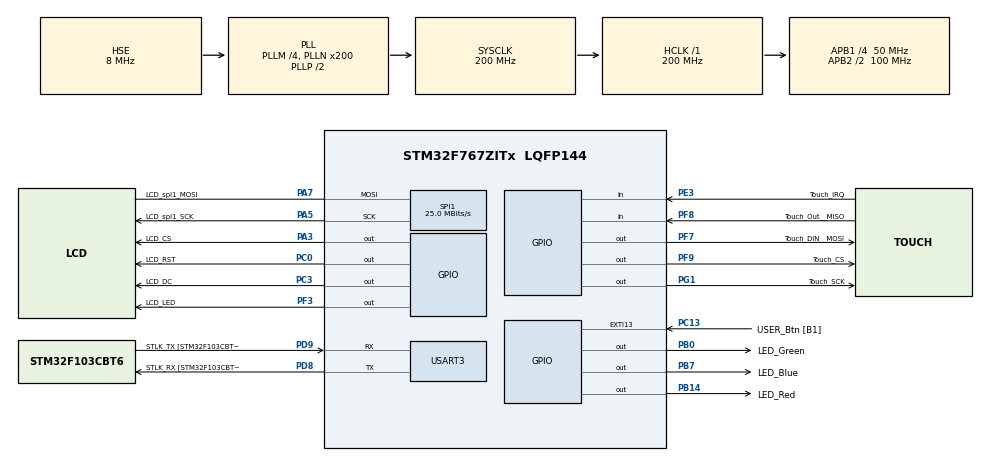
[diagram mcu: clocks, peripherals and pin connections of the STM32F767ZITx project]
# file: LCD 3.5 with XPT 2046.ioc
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Mcu.Family=STM32F7
Mcu.Name=STM32F767ZITx
Mcu.Package=LQFP144
NVIC.PriorityGroup=NVIC_PRIORITYGROUP_4
PA13.GPIO_Label=TMS
PA13.Mode=Serial_Wire
PA13.Signal=SYS_JTMS-SWDIO
PA14.GPIO_Label=TCK
PA14.Mode=Serial_Wire
PA14.Signal=SYS_JTCK-SWCLK
PA3.GPIO_Label=LCD_CS
PA3.Signal=GPIO_Output
PA5.GPIO_Label=LCD_spi1_SCK
PA5.GPIO_Speed=GPIO_SPEED_FREQ_HIGH
PA5.Mode=Simplex_Bidirectional_Master
PA5.Signal=SPI1_SCK
PA7.GPIO_Label=LCD_spi1_MOSI
PA7.GPIO_Speed=GPIO_SPEED_FREQ_HIGH
PA7.Mode=Simplex_Bidirectional_Master
PA7.Signal=SPI1_MOSI
PB0.GPIO_Label=LED_Green
PB0.Signal=GPIO_Output
PB14.GPIO_Label=LED_Red
PB14.Signal=GPIO_Output
PB7.GPIO_Label=LED_Blue
PB7.Signal=GPIO_Output
PC0.GPIO_Label=LCD_RST
PC0.Signal=GPIO_Output
PC13.GPIO_Label=USER_Btn [B1]
PC13.Signal=GPXTI13
PC14/OSC32_IN.Mode=LSE-External-Oscillator
PC14/OSC32_IN.Signal=RCC_OSC32_IN
PC15/OSC32_OUT.Mode=LSE-External-Oscillator
PC15/OSC32_OUT.Signal=RCC_OSC32_OUT
PC3.GPIO_Label=LCD_DC
PC3.Signal=GPIO_Output
PD8.GPIO_Label=STLK_RX [STM32F103CBT6_PA3]
PD8.Mode=Asynchronous
PD8.Signal=USART3_TX
PD9.GPIO_Label=STLK_TX [STM32F103CBT6_PA2]
PD9.Mode=Asynchronous
PD9.Signal=USART3_RX
PE3.GPIO_Label=Touch_IRQ
PE3.Signal=GPIO_Input
PF3.GPIO_Label=LCD_LED
PF3.PinState=GPIO_PIN_RESET
PF3.Signal=GPIO_Output
PF7.GPIO_Label=Touch_DIN__MOSI
PF7.Signal=GPIO_Output
PF8.GPIO_Label=Touch_Out__MISO
PF8.Signal=GPIO_Input
PF9.GPIO_Label=Touch_CS
PF9.Signal=GPIO_Output
PG1.GPIO_Label=Touch_SCK
PG1.Signal=GPIO_Output
PH0/OSC_IN.GPIO_Label=MCO [STM32F103CBT6_PA8]
PH0/OSC_IN.Mode=HSE-External-Clock-Source
PH0/OSC_IN.Signal=RCC_OSC_IN
PH1/OSC_OUT.Mode=HSE-External-Clock-Source
PH1/OSC_OUT.Signal=RCC_OSC_OUT
ProjectManager.HeapSize=0x2000
ProjectManager.StackSize=0x4000
ProjectManager.TargetToolchain=MDK-ARM V5.32
RCC.48MHZClocksFreq_Value=24000000
RCC.AHBFreq_Value=200000000
RCC.APB1CLKDivider=RCC_HCLK_DIV4
RCC.APB1Freq_Value=50000000
RCC.APB1TimFreq_Value=100000000
RCC.APB2CLKDivider=RCC_HCLK_DIV2
RCC.APB2Freq_Value=100000000
RCC.APB2TimFreq_Value=200000000
RCC.CortexFreq_Value=200000000
RCC.HCLKFreq_Value=200000000
RCC.HSE_VALUE=8000000
RCC.HSI_VALUE=16000000
RCC.PLLM=4
RCC.PLLMUL=RCC_PLL_MUL9
RCC.PLLN=200
RCC.PLLQ=4
RCC.PLLSourceVirtual=RCC_PLLSOURCE_HSE
RCC.PRESCALERUSB=RCC_USBCLKSOURCE_PLL_DIV1_5
RCC.SYSCLKFreq_VALUE=200000000
RCC.SYSCLKSource=RCC_SYSCLKSOURCE_PLLCLK
RCC.SYSCLKSourceVirtual=RCC_SYSCLKSOURCE_PLLCLK
RCC.USBFreq_Value=100000000
RCC.VCOOutputFreq_Value=400000000
SPI1.BaudRatePrescaler=SPI_BAUDRATEPRESCALER_4
SPI1.CalculateBaudRate=25.0 MBits/s
SPI1.DataSize=SPI_DATASIZE_8BIT
SPI1.Direction=SPI_DIRECTION_1LINE
SPI1.Mode=SPI_MODE_MASTER
SPI1.VirtualType=VM_MASTER
USART3.VirtualMode-Asynchronous=VM_ASYNC
board=NUCLEO-F767ZI

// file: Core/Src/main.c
/* USER CODE BEGIN Header */
/**
  ******************************************************************************
  * @file           : main.c
  * @brief          : Main program body
  ******************************************************************************
  * @attention
  *
  * Copyright (c) 2025 STMicroelectronics.
  * All rights reserved.
  *
  * This software is licensed under terms that can be found in the LICENSE file
  * in the root directory of this software component.
  * If no LICENSE file comes with this software, it is provided AS-IS.
  *
  ******************************************************************************
  */
/* USER CODE END Header */
#include "main.h"
#include "crc.h"
#include "spi.h"
#include "usart.h"
#include "gpio.h"

/* USER CODE BEGIN Includes */

#include "stdio.h"
#include "ILI9488_SPI.h"
//#include "XPT2046.h"
#include "Font.h"
#include "AF12x16.h"
//#include "image.h"
#include "XPT2046.h"
#include "AA_delay.h"

/* USER CODE END Includes */

/* USER CODE BEGIN PV */

char LCD_str[100];
volatile  uint16_t LCD_x = 0;
volatile  uint16_t LCD_y = 0;
volatile  uint32_t X_Raw , Y_Raw;

/* USER CODE END PV */

void SystemClock_Config(void);

int main(void)
{

  /* MCU Configuration--------------------------------------------------------*/

  /* Reset of all peripherals, Initializes the Flash interface and the Systick. */
  HAL_Init();

  /* Configure the system clock */
  SystemClock_Config();

  /* Initialize all configured peripherals */
  MX_GPIO_Init();
  MX_USART3_UART_Init();
  MX_SPI1_Init();
  MX_CRC_Init();
  /* USER CODE BEGIN 2 */

	//--------------------------------------------------------------------------------------//
	//                               Timer For Touch Start                                  //
	//--------------------------------------------------------------------------------------//
	AA_delayInit();
	//HAL_TIM_Base_Start(&htim11);

	// کلاک 200 مگا هرتز باشد
	// اين دستور 5 نانو ثانيه تاخير دقيق ايجاد ميکند
	__ASM volatile ("NOP");

	//--------------------------------------------------------------------------------------//
	//                                      Initialize LCD                                  //
	//--------------------------------------------------------------------------------------//

	// LCD background on
	HAL_GPIO_WritePin(LCD_LED_GPIO_Port, LCD_LED_Pin, GPIO_PIN_SET);

	// Initialize ili9488
	ILI9488_Init();

	// Fill Screen
//  ILI9488_Fill_Screen(Color_RED);
//	HAL_Delay(500);
//	ILI9488_Fill_Screen(Color_GREEN);
//	HAL_Delay(500);
//	ILI9488_Fill_Screen(Color_BLUE);

	// Set Font
	LcdFont(AF12x16);

	// Set Language
	//SetLetter(E_LETTER);

	// Set Font Size
	//LcdFontXScale(1);
	//LcdFontYScale(1);

	// Set Screen Rotation
	//ILI9488_Set_Rotation(0);

	// Show Image
	//drawImage(140,225,30,30,logo);

	LcdFontXScale(3);
	LcdFontYScale(3);

	ILI9488_Set_Rotation(0);
	ILI9488_Fill_Screen(Color_BLUE);
	SetLetter(P_LETTER);
	DrawStringAt(0,2," به نام خدا ",Color_WHITE,Color_RED);
	DrawStringAt(1,0," فونت فارسی ",Color_WHITE,Color_BLACK);
	SetLetter(E_LETTER);
	DrawStringAt(3,0," www.OUO.ir ",Color_BLACK,Color_WHITE);
	DrawStringAt(4,0," TFT-ILI9488 ",Color_WHITE,Color_MAROON);
	DrawStringAt(5,0," STM32 F767 zi ",Color_WHITE,Color_PINK);
	HAL_Delay(500);

//	ILI9488_Set_Rotation(1);
//	ILI9488_Fill_Screen(Color_BLUE);
//	SetLetter(P_LETTER);
//	DrawStringAt(0, 0," به نام خدا ",Color_WHITE,Color_RED);
//	DrawStringAt(1, 0," فونت فارسی ",Color_WHITE,Color_BLACK);
//	SetLetter(E_LETTER);
//	DrawStringAt(3, 0," micronik.ir ",Color_BLACK,Color_WHITE);
//	DrawStringAt(4, 0," TFT ILI9488 ",Color_WHITE,Color_MAROON);
//	DrawStringAt(5, 0," STM32 F767 zi ",Color_WHITE,Color_PINK);
//	HAL_Delay(1000);

//	ILI9488_Set_Rotation(2);
//	ILI9488_Fill_Screen(Color_BLUE);
//	SetLetter(P_LETTER);
//	DrawStringAt(0, 0, " به نام خدا ", Color_WHITE, Color_RED);
//	DrawStringAt(1, 0, " فونت فارسی ", Color_WHITE, Color_BLACK);
//	SetLetter(E_LETTER);
//	DrawStringAt(3,0," micronik.ir ",Color_BLACK,Color_WHITE);
//	DrawStringAt(4,0," TFT ILI9488 ",Color_WHITE,Color_MAROON);
//	DrawStringAt(5,0," STM32 F767 zi ",Color_WHITE,Color_PINK);
//	HAL_Delay(1000);

//	ILI9488_Set_Rotation(3);
//	ILI9488_Fill_Screen(Color_BLUE);
//	SetLetter(P_LETTER);
//	DrawStringAt(0,0," به نام خدا ",Color_WHITE,Color_RED);
//	DrawStringAt(1,0," فونت فارسی ",Color_WHITE,Color_BLACK);
//	SetLetter(E_LETTER);
//	DrawStringAt(3,0," micronik.ir ",Color_BLACK,Color_WHITE);
//	DrawStringAt(4,0," TFT ILI9488 ",Color_WHITE,Color_MAROON);
//	DrawStringAt(5,0," STM32 F767 zi ",Color_WHITE,Color_PINK);
//	HAL_Delay(1000);

	ILI9488_Set_Rotation(0);
	ILI9488_Fill_Screen(Color_WHITE);
	ILI9488_Draw_Fill_Rectangle(15 , 420, 60, 30 , Color_BLUE);
	ILI9488_Draw_Fill_Rectangle(85 , 420, 60, 30 , Color_GREEN);
	ILI9488_Draw_Fill_Rectangle(155, 420, 60, 30 , Color_YELLOW);
	ILI9488_Draw_Fill_Rectangle(225, 420, 60, 30 , Color_RED);

	ILI9488_Draw_Horizontal_Line(10, 10, 100, Color_BLACK);
	ILI9488_Draw_Vertical_Line(10, 10, 100, Color_BLACK);
	ILI9488_Draw_line(10, 10, 120, 120,Color_BLACK);
	ILI9488_Draw_Rectangle(120, 120, 200, 250, Color_BLACK);
	ILI9488_Draw_Circle(200, 300, 20, Color_BLACK);

	//
	HAL_Delay(2000);

	//--------------------------------------------------------------------------------------//
	//
	//--------------------------------------------------------------------------------------//

  /* USER CODE END 2 */

  /* Infinite loop */
  /* USER CODE BEGIN WHILE */
  while (1)
  {
		if ( XPT2046_TouchPressed() )
	  {
			XPT2046_TouchGetCoordinates(&LCD_x, &LCD_y);
			int xxx = (int)LCD_x;
			int yyy = (int)LCD_y;
			sprintf(LCD_str, "  X=%4d   Y=%4d    ", xxx, yyy);
			LcdFontXScale(2);
			LcdFontYScale(2);
			DrawStringAt(0, 0, LCD_str,Color_WHITE, Color_BLACK);

			if(LCD_x>=370 && LCD_x<=455 && LCD_y>=284 && LCD_y<=300)
			{
				ILI9488_Draw_Fill_Rectangle(10 , 40 , 300 ,370 , Color_BLUE);
			}
			if(LCD_x>=266 && LCD_x<=352 && LCD_y>=284 && LCD_y<=300)
			{
				ILI9488_Draw_Fill_Rectangle(10 , 40 , 300 ,370 , Color_GREEN);
			}
			if(LCD_x>=158 && LCD_x<=244 && LCD_y>=284 && LCD_y<=300)
			{
				ILI9488_Draw_Fill_Rectangle(10 , 40 , 300 ,370 , Color_YELLOW);
			}
			if(LCD_x>=50 && LCD_x<=133 && LCD_y>=284 && LCD_y<=300)
			{
				ILI9488_Draw_Fill_Rectangle(10 , 40 , 300 ,370 , Color_RED);
				//ILI9488_DrawFilledCircle(210, 150, 30, Color_RED);
			}

		}

    /* USER CODE END WHILE */

    /* USER CODE BEGIN 3 */
		HAL_Delay(50);

		// LED Toggle
		//HAL_GPIO_TogglePin(LED_Green_GPIO_Port,LED_Green_Pin);
		HAL_GPIO_TogglePin(LED_Blue_GPIO_Port,LED_Blue_Pin);
		HAL_GPIO_TogglePin(LED_Red_GPIO_Port,LED_Red_Pin);
  }
  /* USER CODE END 3 */
}

void SystemClock_Config(void)
{
  RCC_OscInitTypeDef RCC_OscInitStruct = {0};
  RCC_ClkInitTypeDef RCC_ClkInitStruct = {0};

  /** Configure LSE Drive Capability
  */
  HAL_PWR_EnableBkUpAccess();

  /** Configure the main internal regulator output voltage
  */
  __HAL_RCC_PWR_CLK_ENABLE();
  __HAL_PWR_VOLTAGESCALING_CONFIG(PWR_REGULATOR_VOLTAGE_SCALE1);

  /** Initializes the RCC Oscillators according to the specified parameters
  * in the RCC_OscInitTypeDef structure.
  */
  RCC_OscInitStruct.OscillatorType = RCC_OSCILLATORTYPE_HSE;
  RCC_OscInitStruct.HSEState = RCC_HSE_BYPASS;
  RCC_OscInitStruct.PLL.PLLState = RCC_PLL_ON;
  RCC_OscInitStruct.PLL.PLLSource = RCC_PLLSOURCE_HSE;
  RCC_OscInitStruct.PLL.PLLM = 4;
  RCC_OscInitStruct.PLL.PLLN = 200;
  RCC_OscInitStruct.PLL.PLLP = RCC_PLLP_DIV2;
  RCC_OscInitStruct.PLL.PLLQ = 4;
  RCC_OscInitStruct.PLL.PLLR = 2;
  if (HAL_RCC_OscConfig(&RCC_OscInitStruct) != HAL_OK)
  {
    Error_Handler();
  }

  /** Activate the Over-Drive mode
  */
  if (HAL_PWREx_EnableOverDrive() != HAL_OK)
  {
    Error_Handler();
  }

  /** Initializes the CPU, AHB and APB buses clocks
  */
  RCC_ClkInitStruct.ClockType = RCC_CLOCKTYPE_HCLK|RCC_CLOCKTYPE_SYSCLK
                              |RCC_CLOCKTYPE_PCLK1|RCC_CLOCKTYPE_PCLK2;
  RCC_ClkInitStruct.SYSCLKSource = RCC_SYSCLKSOURCE_PLLCLK;
  RCC_ClkInitStruct.AHBCLKDivider = RCC_SYSCLK_DIV1;
  RCC_ClkInitStruct.APB1CLKDivider = RCC_HCLK_DIV4;
  RCC_ClkInitStruct.APB2CLKDivider = RCC_HCLK_DIV2;

  if (HAL_RCC_ClockConfig(&RCC_ClkInitStruct, FLASH_LATENCY_6) != HAL_OK)
  {
    Error_Handler();
  }
}

void Error_Handler(void)
{
  __disable_irq();
  while (1)
  {
  }
}
